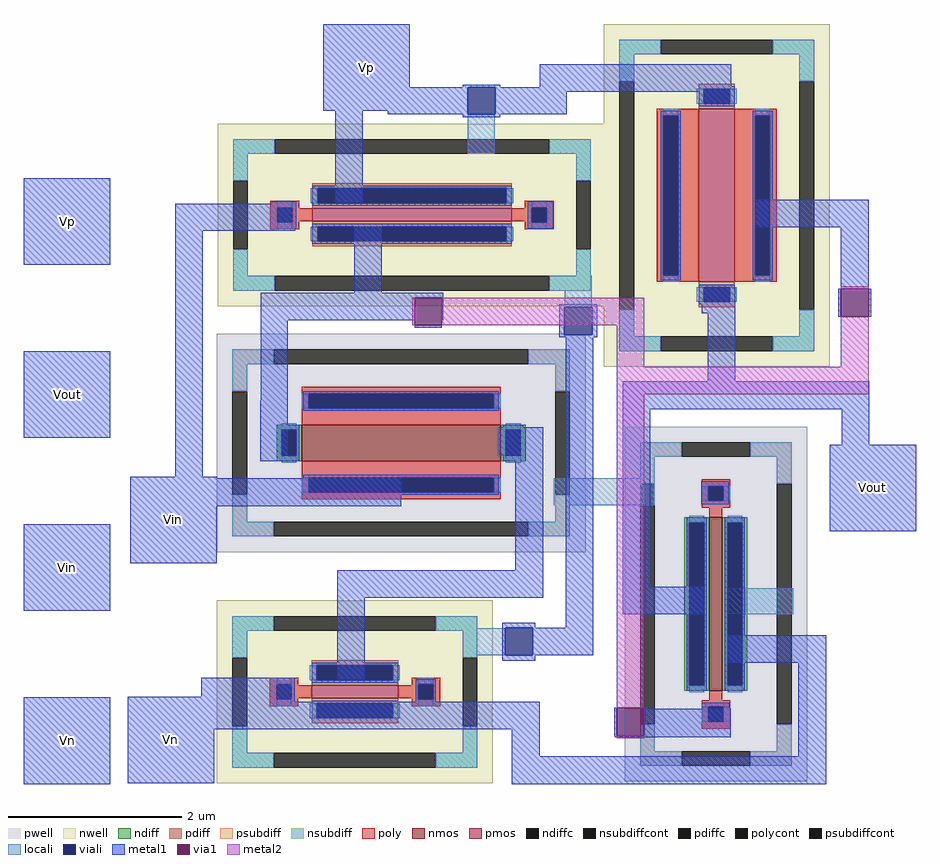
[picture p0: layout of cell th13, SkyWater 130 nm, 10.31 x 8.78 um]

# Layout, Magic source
magic
tech sky130A
magscale 1 2
<< locali >>
rect 1026 256 1088 347
rect 1250 -98 1312 -26
rect 1224 -556 1458 -494
rect 1628 -808 1778 -748
rect 1016 -902 1112 -840
<< viali >>
rect 1026 347 1089 410
rect 1249 -162 1313 -98
rect 1112 -903 1176 -839
<< metal1 >>
rect 692 410 892 556
rect 1014 410 1101 416
rect 1192 410 1635 463
rect 692 356 1026 410
rect 0 0 200 200
rect 720 144 783 356
rect 841 347 1026 356
rect 1089 400 1635 410
rect 1089 347 1255 400
rect 1572 367 1635 400
rect 1014 341 1101 347
rect 350 78 627 141
rect 0 -400 200 -200
rect 350 -490 413 78
rect 764 -65 827 89
rect 1690 86 1952 150
rect 1566 -52 1630 -48
rect 547 -76 969 -65
rect 547 -128 903 -76
rect 547 -314 610 -128
rect 966 -128 969 -76
rect 1237 -98 1325 -92
rect 903 -146 966 -140
rect 1237 -162 1249 -98
rect 1313 -162 1325 -98
rect 1566 -112 1644 -52
rect 1888 -56 1952 86
rect 1237 -168 1325 -162
rect 546 -454 610 -314
rect 1098 -440 1200 -376
rect 246 -494 446 -490
rect 246 -558 872 -494
rect 0 -800 200 -600
rect 246 -690 446 -558
rect 1136 -706 1200 -440
rect 724 -770 1200 -706
rect 410 -998 626 -954
rect 724 -958 788 -770
rect 1106 -839 1182 -827
rect 1252 -839 1316 -168
rect 1580 -270 1644 -112
rect 1882 -120 1888 -56
rect 1952 -120 1958 -56
rect 1384 -334 1954 -270
rect 1384 -744 1448 -334
rect 1890 -416 1954 -334
rect 1862 -616 2062 -416
rect 1384 -808 1574 -744
rect 1106 -903 1112 -839
rect 1176 -903 1316 -839
rect 1106 -915 1182 -903
rect 1628 -920 1854 -856
rect 0 -1200 200 -1000
rect 240 -1010 626 -998
rect 240 -1074 1192 -1010
rect 240 -1198 440 -1074
rect 1128 -1136 1192 -1074
rect 1364 -1088 1370 -1024
rect 1434 -1026 1440 -1024
rect 1434 -1088 1634 -1026
rect 1366 -1092 1634 -1088
rect 1790 -1136 1854 -920
rect 1128 -1200 1854 -1136
<< via1 >>
rect 903 -140 966 -76
rect 1888 -120 1952 -56
rect 1370 -1088 1434 -1024
<< metal2 >>
rect 1888 -56 1952 -50
rect 897 -140 903 -76
rect 966 -140 1434 -76
rect 1370 -236 1434 -140
rect 1888 -236 1952 -120
rect 1370 -300 1952 -236
rect 1370 -1024 1434 -300
rect 1370 -1094 1434 -1088
use sky130_fd_pr__pfet_01v8_XGS3BL  XM0
transform 0 1 765 -1 0 -987
box -211 -319 211 319
use sky130_fd_pr__nfet_01v8_L6G859  XM1
transform 1 0 872 0 1 -412
box -426 -252 426 252
use sky130_fd_pr__pfet_01v8_XW9KDL  XM2
transform 0 -1 897 1 0 115
box -211 -449 211 449
use sky130_fd_pr__pfet_01v8_VZ9GC6  XM3
transform 0 1 1601 -1 0 160
box -396 -261 396 261
use sky130_fd_pr__nfet_01v8_ATLS57  XM4
transform -1 0 1599 0 -1 -784
box -211 -410 211 410
<< labels >>
flabel metal1 240 -1198 440 -998 0 FreeSans 256 0 0 0 Vn
port 3 nsew
flabel metal1 692 356 892 556 0 FreeSans 256 0 0 0 Vp
port 0 nsew
flabel metal1 246 -690 446 -490 0 FreeSans 256 0 0 0 Vin
port 2 nsew
flabel metal1 1862 -616 2062 -416 0 FreeSans 256 0 0 0 Vout
port 1 nsew
flabel metal1 0 0 200 200 0 FreeSans 256 0 0 0 Vp
flabel metal1 0 -400 200 -200 0 FreeSans 256 0 0 0 Vout
flabel metal1 0 -800 200 -600 0 FreeSans 256 0 0 0 Vin
flabel metal1 0 -1200 200 -1000 0 FreeSans 256 0 0 0 Vn
<< end >>

# cell sky130_fd_pr__pfet_01v8_XGS3BL: kit device sky130_fd_pr__pfet_01v8, w 1.0 l 0.15 m 1 nf 1 diffcov 100 polycov 100 guard 1 glc 1 grc 1 gtc 1 gbc 1 tbcov 100 rlcov 100 topc 1 botc 1 poverlap 0 doverlap 1 lmin 0.15 wmin 0.42 compatible {sky130_fd_pr__pfet_01v8 sky130_fd_pr__pfet_01v8_lvt sky130_fd_pr__pfet_01v8_hvt sky130_fd_pr__pfet_g5v0d10v5} full_metal 1 viasrc 100 viadrn 100 viagate 100 viagb 0 viagr 0 viagl 0 viagt 0

# cell sky130_fd_pr__nfet_01v8_L6G859: kit device sky130_fd_pr__nfet_01v8, w 0.42 l 2.3 m 1 nf 1 diffcov 100 polycov 100 guard 1 glc 1 grc 1 gtc 1 gbc 1 tbcov 100 rlcov 100 topc 1 botc 1 poverlap 0 doverlap 1 lmin 0.15 wmin 0.42 compatible {sky130_fd_pr__nfet_01v8 sky130_fd_pr__nfet_01v8_lvt sky130_fd_bs_flash__special_sonosfet_star sky130_fd_pr__nfet_g5v0d10v5 sky130_fd_pr__nfet_05v0_nvt sky130_fd_pr__nfet_03v3_nvt} full_metal 1 viasrc 100 viadrn 100 viagate 100 viagb 0 viagr 0 viagl 0 viagt 0

# cell sky130_fd_pr__pfet_01v8_XW9KDL: kit device sky130_fd_pr__pfet_01v8, w 2.3 l 0.15 m 1 nf 1 diffcov 100 polycov 100 guard 1 glc 1 grc 1 gtc 1 gbc 1 tbcov 100 rlcov 100 topc 1 botc 1 poverlap 0 doverlap 1 lmin 0.15 wmin 0.42 compatible {sky130_fd_pr__pfet_01v8 sky130_fd_pr__pfet_01v8_lvt sky130_fd_pr__pfet_01v8_hvt sky130_fd_pr__pfet_g5v0d10v5} full_metal 1 viasrc 100 viadrn 100 viagate 100 viagb 0 viagr 0 viagl 0 viagt 0

# cell sky130_fd_pr__pfet_01v8_VZ9GC6: kit device sky130_fd_pr__pfet_01v8, w 0.42 l 2.0 m 1 nf 1 diffcov 100 polycov 100 guard 1 glc 1 grc 1 gtc 1 gbc 1 tbcov 100 rlcov 100 topc 1 botc 1 poverlap 0 doverlap 1 lmin 0.15 wmin 0.42 compatible {sky130_fd_pr__pfet_01v8 sky130_fd_pr__pfet_01v8_lvt sky130_fd_pr__pfet_01v8_hvt sky130_fd_pr__pfet_g5v0d10v5} full_metal 1 viasrc 100 viadrn 100 viagate 100 viagb 0 viagr 0 viagl 0 viagt 0

# cell sky130_fd_pr__nfet_01v8_ATLS57: kit device sky130_fd_pr__nfet_01v8, w 2.0 l 0.15 m 1 nf 1 diffcov 100 polycov 100 guard 1 glc 1 grc 1 gtc 1 gbc 1 tbcov 100 rlcov 100 topc 1 botc 1 poverlap 0 doverlap 1 lmin 0.15 wmin 0.42 compatible {sky130_fd_pr__nfet_01v8 sky130_fd_pr__nfet_01v8_lvt sky130_fd_bs_flash__special_sonosfet_star sky130_fd_pr__nfet_g5v0d10v5 sky130_fd_pr__nfet_05v0_nvt sky130_fd_pr__nfet_03v3_nvt} full_metal 1 viasrc 100 viadrn 100 viagate 100 viagb 0 viagr 0 viagl 0 viagt 0
